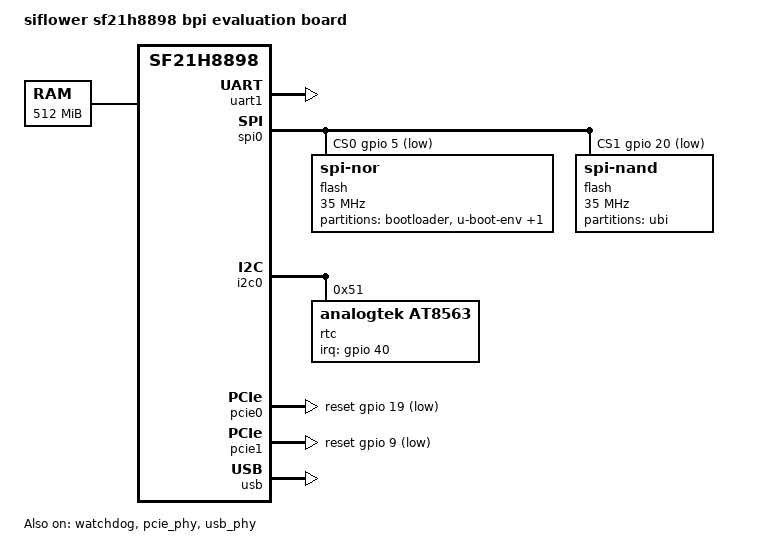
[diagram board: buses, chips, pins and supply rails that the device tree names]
/*
 * Copyright 2022 SiFlower Corporation.
 */

/dts-v1/;
#include "sf21a6826.dtsi"

/ {
	model = "siflower sf21h8898 bpi evaluation board";
	compatible = "siflower,sf21h8898-bpi", "siflower,sf21h8898";

	chosen {
		bootargs = "earlycon root=/dev/fit0 rootwait";
		stdout-path = "serial1:115200n8";
		rootdisk = <&ubi_rootdisk>;
	};

	memory@20000000 {
		device_type = "memory";
		reg = <0x0 0x20000000 0x0 0x20000000>;
	};
};

&spi0_pins {
	pinctrl-single,pins = <
		SPI0_TXD	FUNC_MODE0
		SPI0_RXD	FUNC_MODE0
		SPI0_CLK	FUNC_MODE0
		SPI0_HOLD	FUNC_MODE0
		SPI0_WP		FUNC_MODE0
	>;
};

&watchdog {
	status = "okay";
};

&uart1 {
	status = "okay";
};

&spi0 {
	status = "okay";
	// 2nd cs should be gpio 38
	cs-gpios = <&gpio 5 GPIO_ACTIVE_LOW>, <&gpio 20 GPIO_ACTIVE_LOW>;

	flash@0 {
		compatible = "jedec,spi-nor";
		reg = <0>;
		m25p,fast-read;
		spi-max-frequency = <35000000>;
		spi-tx-bus-width = <2>;
		spi-rx-bus-width = <2>;

	        partitions {
			compatible = "fixed-partitions";
			#address-cells = <1>;
			#size-cells = <1>;

			partition@0 {
				label = "bootloader";
				reg = <0x0 0xc0000>;
				read-only;
			};

			partition@c0000 {
				label = "u-boot-env";
				reg = <0xc0000 0x10000>;
			};

			factory: partition@d0000 {
				label = "factory";
				reg = <0xd0000 0x10000>;
			};
		};
	};

	flash@1 {
		compatible = "spi-nand";
		reg = <1>;
		spi-max-frequency = <35000000>;
		spi-tx-bus-width = <2>;
		spi-rx-bus-width = <2>;
		#address-cells = <1>;
		#size-cells = <1>;

	        partitions {
			compatible = "fixed-partitions";
			#address-cells = <1>;
			#size-cells = <1>;

			partition@0 {
				label = "ubi";
				reg = <0x0 0>;

				volumes {
					ubi_rootdisk: ubi-volume-fit {
						volname = "fit";
					};
				};
			};
		};
	};
};

&iomux {
	rtc_int_gpio: rtc-int-pins {
		pinctrl-single,pins = <PHY_INT GPIO_MODE>;
		// disable internal bias as it's externally (and weakly) pulled up
		pinctrl-single,bias-pullup = <0 SW_PU 0 SW_PU>;
		pinctrl-single,bias-pulldown = <0 SW_PD 0 SW_PD>;
	};
};

&i2c0 {
	status = "okay";

	rtc: rtc@51 {
		compatible = "analogtek,at8563", "nxp,pcf8563";
		reg = <0x51>;
		#clock-cells = <0>;
		interrupts-extended = <&gpio 40 IRQ_TYPE_LEVEL_LOW>;
		pinctrl-names = "default";
		pinctrl-0 = <&rtc_int_gpio>;
	};
};

&pcie_phy {
	status = "okay";
};

&pcie0 {
	reset-gpios = <&gpio 19 GPIO_ACTIVE_LOW>;
	status = "okay";
};

&pcie1 {
	reset-gpios = <&gpio 9 GPIO_ACTIVE_LOW>;
	status = "okay";
};

&usb_phy {
	status = "okay";
};

&usb {
	status = "okay";
};
